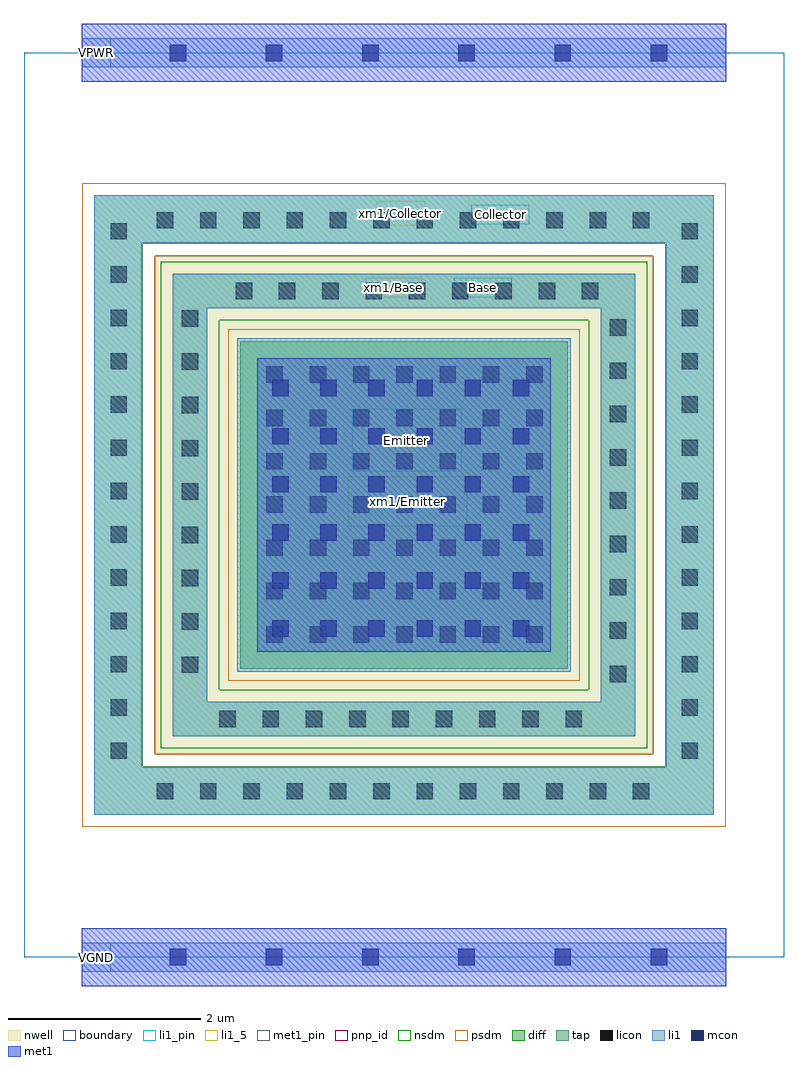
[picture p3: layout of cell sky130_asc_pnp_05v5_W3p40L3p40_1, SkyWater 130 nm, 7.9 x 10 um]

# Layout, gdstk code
import gdstk
lib = gdstk.Library(unit=1e-6, precision=1e-09)
def R(c, l, rs):  # rectangles x0, y0, x1, y1
    for r in rs: c.add(gdstk.rectangle(r[:2], r[2:], *l))
def A(c, l, x, y, w, h, nx, ny, dx, dy):  # array of equal rectangles
    R(c, l, [(x+i*dx, y+j*dy, x+i*dx+w, y+j*dy+h) for i in range(nx) for j in range(ny)])
nwell = (64, 20)
diff = (65, 20)
tap = (65, 44)
licon = (66, 44)
li1_5 = (67, 5)
li1_pin = (67, 16)
li1 = (67, 20)
mcon = (67, 44)
met1_pin = (68, 16)
met1 = (68, 20)
pnp_id = (82, 44)
nsdm = (93, 44)
psdm = (94, 20)
boundary = (235, 4)

sky130_asc_pnp_05v5_w3p4 = lib.new_cell('sky130_asc_pnp_05v5_W3p40L3p40_1')
R(sky130_asc_pnp_05v5_w3p4, nwell, [(1.365,2.115,6.535,7.285)])
R(sky130_asc_pnp_05v5_w3p4, diff, [(2.25,3,5.65,6.4)])
R(sky130_asc_pnp_05v5_w3p4, tap, [(0.73,1.48,7.17,1.985), (0.73,1.985,1.235,7.415), (6.665,1.985,7.17,7.415), (1.545,2.295,6.355,2.655), (1.545,2.655,1.905,6.745), (5.995,2.655,6.355,6.745), (1.545,6.745,6.355,7.105), (0.73,7.415,7.17,7.92)])
A(sky130_asc_pnp_05v5_w3p4, licon, 1.38, 1.64, 0.17, 0.17, 12, 2, 0.45, 5.935)
A(sky130_asc_pnp_05v5_w3p4, licon, 0.9, 2.06, 0.17, 0.17, 1, 13, 0, 0.45)
A(sky130_asc_pnp_05v5_w3p4, licon, 6.835, 2.06, 0.17, 0.17, 1, 13, 0, 0.45)
A(sky130_asc_pnp_05v5_w3p4, licon, 2.03, 2.39, 0.17, 0.17, 9, 1, 0.45, 0)
A(sky130_asc_pnp_05v5_w3p4, licon, 6.09, 2.86, 0.17, 0.17, 1, 9, 0, 0.45)
A(sky130_asc_pnp_05v5_w3p4, licon, 1.64, 2.955, 0.17, 0.17, 1, 9, 0, 0.45)
A(sky130_asc_pnp_05v5_w3p4, licon, 2.52, 3.27, 0.17, 0.17, 7, 7, 0.45, 0.45)
A(sky130_asc_pnp_05v5_w3p4, licon, 2.2, 6.84, 0.17, 0.17, 9, 1, 0.45, 0)
R(sky130_asc_pnp_05v5_w3p4, li1_5, [(3.37,4.48,4.61,5), (3.55,6.86,4.14,7.06), (3.665,7.61,4.17,7.855)])
R(sky130_asc_pnp_05v5_w3p4, li1_pin, [(3.41,5.05,4.55,5.7), (4.47,6.86,5.07,7.06), (4.65,7.62,5.25,7.82)])
R(sky130_asc_pnp_05v5_w3p4, li1, [(0.6,-0.15,7.3,0.15), (0.73,1.48,7.17,1.975), (0.73,1.975,1.225,7.425), (6.675,1.975,7.17,7.425), (1.545,2.295,6.355,2.655), (1.545,2.655,1.905,6.745), (5.995,2.655,6.355,6.745), (2.215,2.965,5.685,6.435), (1.545,6.745,6.355,7.105), (0.73,7.425,7.17,7.92), (0.6,9.25,7.3,9.55)])
A(sky130_asc_pnp_05v5_w3p4, mcon, 1.515, -0.085, 0.17, 0.17, 6, 2, 1, 9.4)
A(sky130_asc_pnp_05v5_w3p4, mcon, 2.58, 3.33, 0.17, 0.17, 6, 6, 0.5, 0.5)
R(sky130_asc_pnp_05v5_w3p4, met1_pin, [(0.6,-0.15,0.9,0.15), (0.6,9.25,0.9,9.55)])
R(sky130_asc_pnp_05v5_w3p4, met1, [(0.6,-0.3,7.3,0.3), (2.425,3.175,5.475,6.225), (0.6,9.1,7.3,9.7)])
R(sky130_asc_pnp_05v5_w3p4, pnp_id, [(0.73,1.48,7.17,7.92)])
R(sky130_asc_pnp_05v5_w3p4, nsdm, [(1.42,2.17,6.48,2.78), (1.42,2.78,2.03,6.62), (5.87,2.78,6.48,6.62), (1.42,6.62,6.48,7.23)])
R(sky130_asc_pnp_05v5_w3p4, psdm, [(0.605,1.355,7.295,2.11), (0.605,2.11,1.36,7.29), (6.54,2.11,7.295,7.29), (2.125,2.875,5.775,6.525), (0.605,7.29,7.295,8.045)])
R(sky130_asc_pnp_05v5_w3p4, boundary, [(0,0,7.9,9.4)])
sky130_asc_pnp_05v5_w3p4.add(gdstk.Label('xm1/Emitter', (3.99,4.74), layer=67, texttype=5))
sky130_asc_pnp_05v5_w3p4.add(gdstk.Label('xm1/Collector', (3.917,7.732), layer=67, texttype=5))
sky130_asc_pnp_05v5_w3p4.add(gdstk.Label('xm1/Base', (3.845,6.96), layer=67, texttype=5))
sky130_asc_pnp_05v5_w3p4.add(gdstk.Label('Emitter', (3.98,5.375), layer=67, texttype=16))
sky130_asc_pnp_05v5_w3p4.add(gdstk.Label('Base', (4.77,6.96), layer=67, texttype=16))
sky130_asc_pnp_05v5_w3p4.add(gdstk.Label('Collector', (4.95,7.72), layer=67, texttype=16))
sky130_asc_pnp_05v5_w3p4.add(gdstk.Label('VPWR', (0.75,9.4), layer=68, texttype=16))
sky130_asc_pnp_05v5_w3p4.add(gdstk.Label('VGND', (0.75,0), layer=68, texttype=16))

lib.write_gds('sky130_asc_pnp_05v5_W3p40L3p40_1.gds')
